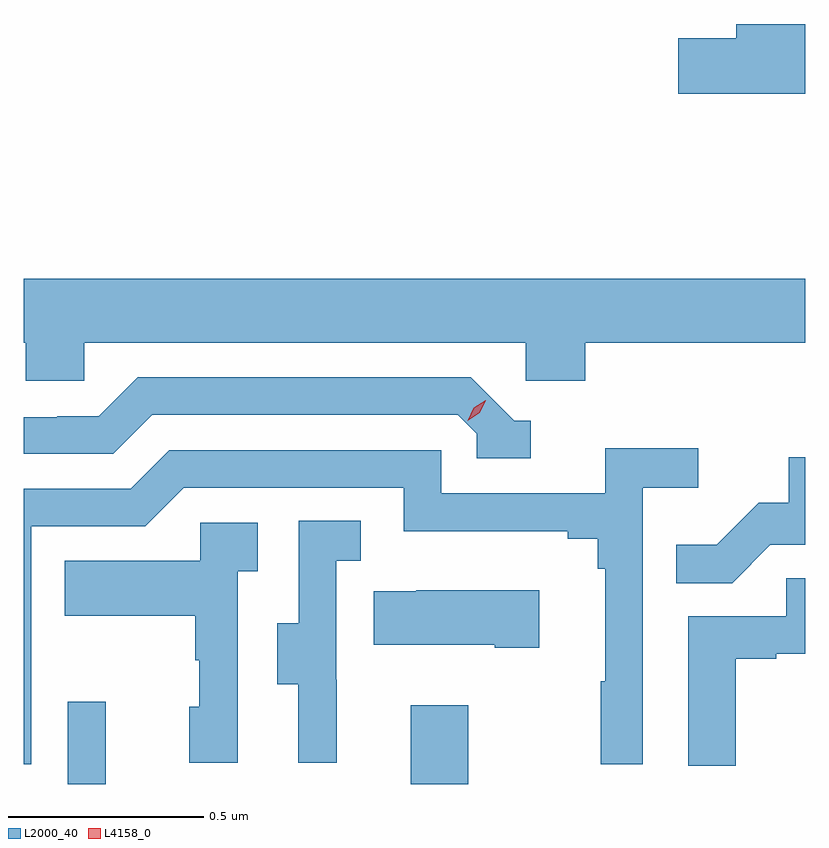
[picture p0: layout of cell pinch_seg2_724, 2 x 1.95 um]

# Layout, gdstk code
import gdstk
lib = gdstk.Library(unit=1e-6, precision=1e-09)
def R(c, l, rs):  # rectangles x0, y0, x1, y1
    for r in rs: c.add(gdstk.rectangle(r[:2], r[2:], *l))
def P(c, l, *ps):  # polygons
    for p in ps: c.add(gdstk.Polygon(p, *l))
L2000_40 = (2000, 40)
L4158_0 = (4158, 0)

pinch_seg2_724 = lib.new_cell('pinch_seg2_724')
R(pinch_seg2_724, L2000_40, [(1128.363,587.898,1128.461,588.109), (1129.241,587.898,1129.389,588.1)])
P(pinch_seg2_724, L2000_40, [(1130.251,589.844),(1130.075,589.844),(1130.075,589.808),(1129.926,589.808),(1129.926,589.666),(1130.251,589.666)],
  [(1128.405,589.028),(1129.536,589.028),(1129.536,588.93),(1129.688,588.93),(1129.688,589.028),(1130.251,589.028),(1130.251,589.192),(1128.251,589.192),(1128.251,589.028),(1128.255,589.028),(1128.255,588.93),(1128.405,588.93)],
  [(1129.549,588.828),(1129.506,588.828),(1129.395,588.939),(1128.542,588.939),(1128.443,588.84),(1128.336,588.84),(1128.336,588.837),(1128.251,588.837),(1128.251,588.744),(1128.48,588.744),(1128.579,588.843),(1129.362,588.843),(1129.41,588.795),(1129.41,588.732),(1129.549,588.732)],
  [(1128.27,588.558),(1128.561,588.558),(1128.66,588.657),(1129.224,588.657),(1129.224,588.545),(1129.643,588.545),(1129.643,588.526),(1129.72,588.526),(1129.72,588.449),(1129.739,588.449),(1129.739,588.161),(1129.728,588.161),(1129.728,587.949),(1129.836,587.949),(1129.836,588.656),(1129.978,588.656),(1129.978,588.758),(1129.739,588.758),(1129.739,588.642),(1129.32,588.642),(1129.32,588.753),(1128.623,588.753),(1128.524,588.654),(1128.251,588.654),(1128.251,587.949),(1128.27,587.949)],
  [(1130.162,588.51),(1130.251,588.51),(1130.251,588.735),(1130.209,588.735),(1130.209,588.618),(1130.132,588.618),(1130.025,588.511),(1129.921,588.511),(1129.921,588.412),(1130.064,588.412)],
  [(1129.052,588.165),(1129.05,588.165),(1129.05,588.469),(1129.114,588.469),(1129.114,588.572),(1128.954,588.572),(1128.954,588.309),(1128.899,588.309),(1128.899,588.154),(1128.953,588.154),(1128.953,587.952),(1129.052,587.952)],
  [(1128.798,588.443),(1128.85,588.443),(1128.85,588.567),(1128.702,588.567),(1128.702,588.469),(1128.355,588.469),(1128.355,588.329),(1128.69,588.329),(1128.69,588.215),(1128.7,588.215),(1128.7,588.096),(1128.674,588.096),(1128.674,587.952),(1128.798,587.952)],
  [(1130.074,588.219),(1130.177,588.219),(1130.177,588.231),(1130.251,588.231),(1130.251,588.425),(1130.203,588.425),(1130.203,588.327),(1129.952,588.327),(1129.952,587.945),(1130.074,587.945)],
  [(1129.57,588.394),(1129.255,588.394),(1129.255,588.391),(1129.147,588.391),(1129.147,588.254),(1129.457,588.254),(1129.457,588.247),(1129.57,588.247)])
P(pinch_seg2_724, L4158_0, [(1129.387,588.828),(1129.387,588.828),(1129.403,588.861),(1129.434,588.88),(1129.434,588.88),(1129.434,588.88),(1129.418,588.848),(1129.387,588.828)])

lib.write_gds('pinch_seg2_724.gds')
